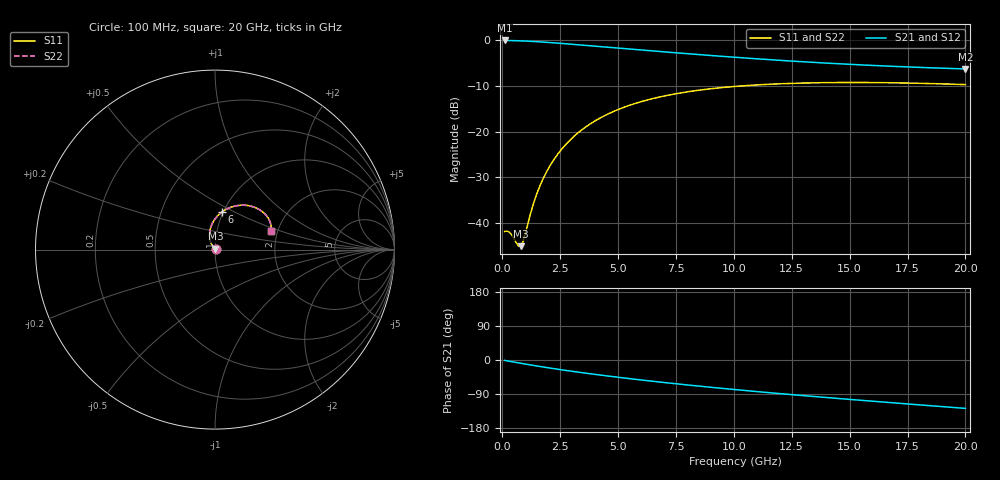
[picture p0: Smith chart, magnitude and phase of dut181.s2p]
! Touchstone file exported from HFSS 2024.1.0
!  File:  C:/UserFiles/LocalFiles/RDL_TSV_Batchsim/temp_RDL_TSV_181_1779439076.aedt
!  Generated:  04:58:23 PM May 22, 2026
!  Design:  RDL_TSV
!  Project:  temp_RDL_TSV_181_1779439076
!  Setup:  Setup1
!  Solution:  Sweep
! Variables:
!  dtsv = 5.83um
!  hbump = 3um
!  htsv = 83.07um
!  ldown = 203.3um
!  lrdl = 237.17um
!  p = 40
!  p1 = 48.89um
!  rhole = 10um
!  subl = 1558.58um
!  t = 450um
!  tdown = 3.67um
!  trdl = 4.46um
!  viad = 10um
!  wdown = 20.93um
!  wrdl = 24.24um
!  xbump = 18um
# GHz S MA R 50.000000
! Terminal data exported
! Port[1] = TM1_1_T1
! Port[2] = TM1_4_T1
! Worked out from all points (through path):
!   200 points, 100 MHz to 20 GHz, reference 50 ohm
!   highest |S21| = -0.07 dB at 100 MHz (marker M1); lowest = -6.3 dB at 20 GHz (marker M2)
!   group delay of S21, straight-line fit = 16.9 ps
!   lowest |S11| = -45.0 dB at 800 MHz (marker M3), VSWR 1.01, Z = 50.2 + j0.514 ohm
!   |S11| at or under -10 dB: start of sweep to 10.36 GHz
!   |S22| runs from -45.0 to -9.3 dB; largest |S21 - S12| = 1e-14
!   S11 on the Smith chart (normalised r, x): 100 MHz: 1.02, +0.00; 6 GHz: 0.99, +0.43; 20 GHz: 1.83, +0.43
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0.1  0.008121 5.6  0.9916 -1.1  0.9916 -1.1  0.008121 5.6
! Gamma 0 0 0 0
! Port Impedance 50 0 50 0
0.3  0.007981 12.8  0.9898 -3.3  0.9898 -3.3  0.007981 12.8
0.4  0.0075 16.9  0.9886 -4.4  0.9886 -4.4  0.007501 16.9
0.7  0.005625 47.4  0.9838 -7.6  0.9838 -7.6  0.005626 47.3
0.8  0.005606 65.9  0.9817 -8.7  0.9817 -8.7  0.005606 65.9
0.9  0.006323 84.4  0.9794 -9.7  0.9794 -9.7  0.006321 84.4
1.2  0.01221 114.6  0.9714 -12.8  0.9714 -12.8  0.01221 114.6
1.4  0.01799 120.8  0.9651 -14.9  0.9651 -14.9  0.01798 120.8
1.6  0.02466 122.8  0.9583 -16.9  0.9583 -16.9  0.02464 122.8
1.9  0.03591 122.4  0.9471 -19.8  0.9471 -19.8  0.03589 122.4
2.2  0.04828 120.1  0.9351 -22.6  0.9351 -22.6  0.04826 120.1
2.6  0.06595 116.0  0.9185 -26.2  0.9185 -26.2  0.06592 116.0
3  0.08438 111.4  0.9014 -29.7  0.9014 -29.7  0.08434 111.4
3.5  0.1077 105.5  0.8801 -33.9  0.8801 -33.9  0.1077 105.5
4.6  0.1575 93.2  0.8343 -42.6  0.8343 -42.6  0.1574 93.2
6  0.2128 79.6  0.7799 -52.7  0.7799 -52.7  0.2127 79.6
6.8  0.2394 72.8  0.7509 -58.1  0.7509 -58.1  0.2393 72.8
8.3  0.2795 61.8  0.7007 -67.7  0.7007 -67.7  0.2794 61.8
10.1  0.3127 50.9  0.6479 -78.4  0.6479 -78.4  0.3126 50.9
13.4  0.3414 35.8  0.5719 -96.0  0.5719 -96.0  0.3413 35.9
16.7  0.3423 25.4  0.5193 -112.2  0.5193 -112.2  0.3422 25.4
20  0.3266 18.7  0.4844 -127.7  0.4844 -127.7  0.3265 18.7
